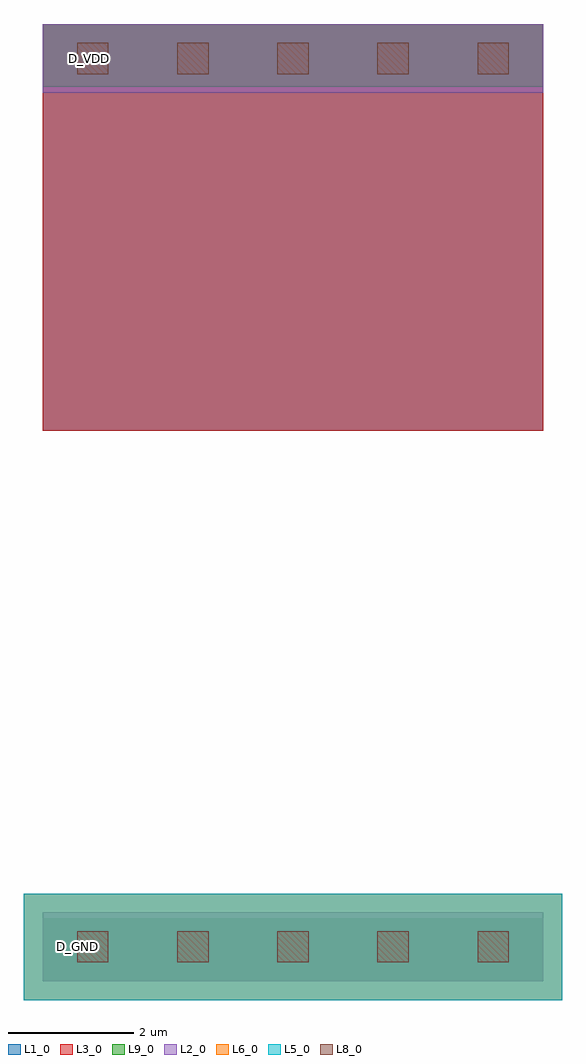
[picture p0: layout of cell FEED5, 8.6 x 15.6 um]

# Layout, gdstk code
import gdstk
lib = gdstk.Library(unit=1e-6, precision=1e-09)
def R(c, l, rs):  # rectangles x0, y0, x1, y1
    for r in rs: c.add(gdstk.rectangle(r[:2], r[2:], *l))
def A(c, l, x, y, w, h, nx, ny, dx, dy):  # array of equal rectangles
    R(c, l, [(x+i*dx, y+j*dy, x+i*dx+w, y+j*dy+h) for i in range(nx) for j in range(ny)])
L1_0 = (1, 0)
L2_0 = (2, 0)
L3_0 = (3, 0)
L5_0 = (5, 0)
L6_0 = (6, 0)
L8_0 = (8, 0)
L9_0 = (9, 0)

feed5 = lib.new_cell('FEED5')
A(feed5, L1_0, 0, 8.8, 1.6, 6.5, 5, 1, 1.6, 0)
A(feed5, L2_0, 0, 0, 1.6, 1.1, 5, 2, 1.6, 14.2)
A(feed5, L3_0, 0, 8.8, 1.6, 6.5, 5, 1, 1.6, 0)
A(feed5, L5_0, 1.6, -0.3, 1.6, 1.7, 3, 1, 1.6, 0)
R(feed5, L5_0, [(-0.3,-0.3,1.6,1.4), (6.4,-0.3,8.3,1.4)])
A(feed5, L6_0, 1.6, -0.3, 1.6, 1.7, 3, 1, 1.6, 0)
R(feed5, L6_0, [(-0.3,-0.3,1.6,1.4), (6.4,-0.3,8.3,1.4)])
A(feed5, L8_0, 0.55, 0.3, 0.5, 0.5, 5, 2, 1.6, 14.2)
A(feed5, L9_0, 0, 0, 1.6, 1, 5, 2, 1.6, 14.3)
R(feed5, L9_0, [(0,0,1.1,1), (0.2,14.3,5.7,15.3), (0.2,14.3,5.7,15.3)])
feed5.add(gdstk.Label('D_GND', (0.55,0.55), layer=50, texttype=0))
feed5.add(gdstk.Label('D_VDD', (0.75,14.75), layer=50, texttype=0))

lib.write_gds('FEED5.gds')
